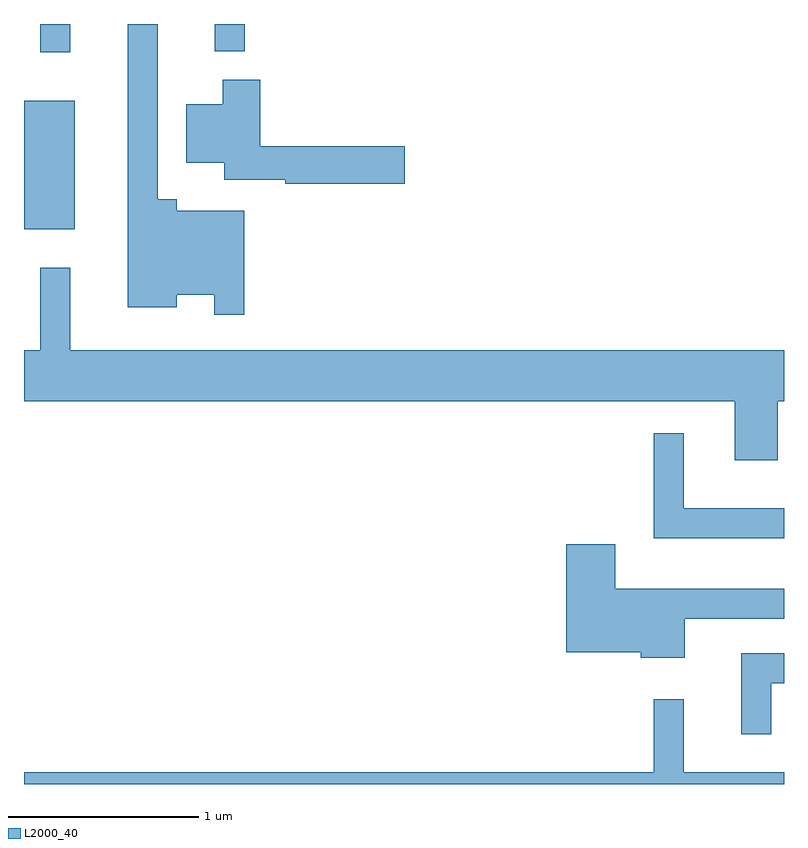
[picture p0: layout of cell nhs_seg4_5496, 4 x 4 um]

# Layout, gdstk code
import gdstk
lib = gdstk.Library(unit=1e-6, precision=1e-09)
def R(c, l, rs):  # rectangles x0, y0, x1, y1
    for r in rs: c.add(gdstk.rectangle(r[:2], r[2:], *l))
def P(c, l, *ps):  # polygons
    for p in ps: c.add(gdstk.Polygon(p, *l))
L2000_40 = (2000, 40)

nhs_seg4_5496 = lib.new_cell('nhs_seg4_5496')
R(nhs_seg4_5496, L2000_40, [(345.611,1368.901,345.879,1369.579), (345.696,1369.833,345.854,1369.982), (346.616,1369.838,346.774,1369.982)])
P(nhs_seg4_5496, L2000_40, [(346.769,1368.999),(346.414,1368.999),(346.414,1369.059),(346.314,1369.059),(346.314,1369.982),(346.156,1369.982),(346.156,1368.491),(346.414,1368.491),(346.414,1368.556),(346.611,1368.556),(346.611,1368.453),(346.769,1368.453)],
  [(347.614,1369.339),(346.854,1369.339),(346.854,1369.689),(346.656,1369.689),(346.656,1369.559),(346.466,1369.559),(346.466,1369.251),(346.666,1369.251),(346.666,1369.161),(346.986,1369.161),(346.986,1369.141),(347.614,1369.141)],
  [(349.579,1367.996),(349.611,1367.996),(349.611,1368.264),(345.854,1368.264),(345.854,1368.698),(345.696,1368.698),(345.696,1368.264),(345.611,1368.264),(345.611,1367.996),(349.351,1367.996),(349.351,1367.686),(349.579,1367.686)],
  [(349.611,1367.434),(349.084,1367.434),(349.084,1367.828),(348.926,1367.828),(348.926,1367.276),(349.611,1367.276)],
  [(349.089,1366.851),(349.611,1366.851),(349.611,1367.009),(348.724,1367.009),(348.724,1367.244),(348.466,1367.244),(348.466,1366.676),(348.856,1366.676),(348.856,1366.646),(349.089,1366.646)],
  [(349.544,1366.511),(349.611,1366.511),(349.611,1366.669),(349.386,1366.669),(349.386,1366.243),(349.544,1366.243)],
  [(349.611,1366.044),(349.084,1366.044),(349.084,1366.428),(348.926,1366.428),(348.926,1366.044),(345.611,1366.044),(345.611,1365.982),(349.611,1365.982)])

lib.write_gds('nhs_seg4_5496.gds')
